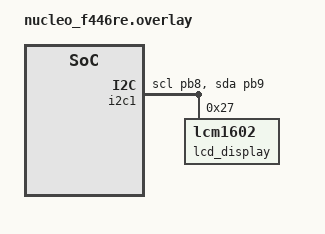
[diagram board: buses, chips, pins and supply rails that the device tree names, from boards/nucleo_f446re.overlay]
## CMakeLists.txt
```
# SPDX-License-Identifier: Apache-2.0

cmake_minimum_required(VERSION 3.20.0)
list(APPEND ZEPHYR_EXTRA_MODULES ${CMAKE_CURRENT_SOURCE_DIR}/../modules)

find_package(Zephyr REQUIRED HINTS $ENV{ZEPHYR_BASE})
target_include_directories(app PRIVATE ${CMAKE_CURRENT_SOURCE_DIR}/include)
project(hello_world)

target_sources(app PRIVATE src/main.c)
```

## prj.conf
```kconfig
# nothing here
CONFIG_I2C=y
CONFIG_LCM1602=y
```

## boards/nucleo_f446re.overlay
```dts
/{

};
&i2c1 {
    pinctrl-0=<&i2c1_scl_pb8 &i2c1_sda_pb9>;
    pinctrl-names="default";

    status="okay";
    lm1602:lm1602@27
    {
        compatible="lcm1602";
        reg=<0x27>;
        label="lcd_display";
        num_lines=<2>;
        status="okay";

    };
};
```

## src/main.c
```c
/*
 * Copyright (c) 2012-2014 Wind River Systems, Inc.
 *
 * SPDX-License-Identifier: Apache-2.0
 */

#include <stdio.h>
#include<zephyr/kernel.h>
const struct device *lcm1602=DEVICE_DT_GET(DT_NODELABEL(lm1602));
#include<lcm1602/lcm1602.h>
int main(void)
{
	if(!device_is_ready(lcm1602))
	{
		printk(" Driver failed\n");
		return -1;
	}
	
	//  }
	
	
	auxdisplay_cursor_set_enabled(lcm1602,true);
	auxdisplay_position_blinking_set_enabled(lcm1602,false);
	 char name[]="zephyr driver api ... drv";
	auxdisplay_write(lcm1602,name,strlen(name));

	uint8_t Character[8] = {
  0b01111,
  0b01001,
  0b01111,
  0b00000,
  0b00000,
  0b00000,
  0b00000,
  0b00000
};
	struct auxdisplay_character ch =
		{
			.character_code = 0,
			.data = Character,
			.index = 0,
	};
	auxdisplay_cursor_position_set(lcm1602,AUXDISPLAY_POSITION_ABSOLUTE,1,3);
	auxdisplay_custom_character_set(lcm1602,&ch);

	
	// for(int i=0;i<10;++i)
	//  {
	// 	auxdisplay_display_position_set(lcm1602,AUXDISPLAY_POSITION_RELATIVE_DIRECTION,-1,0);
	// 	k_msleep(2000);
	//  }
	
	 return 0;
}
```

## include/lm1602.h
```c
#ifndef LM1602
#define LM1602
#include<zephyr/kernel.h>
#include<zephyr/drivers/i2c.h>
#include<stdbool.h>

//connections 
/*
p0->RS
p1->RW
p2->E
p3->BT backlight 
p4->D4
p4->D5
p6->D6
p7->D7

*/

#define LCD_CLEAR_DISPLAY    0x01
#define LCD_RETURN_HOME      0x02
#define LCD_ENTRY_MODE_SET   0x04
#define LCD_DISPLAY_CONTROL  0x08
#define LCD_CURSOR_SHIFT     0x10
#define LCD_FUNCTION_SET     0x20
#define LCD_SET_CGRAM_ADDR   0x40
#define LCD_SET_DDRAM_ADDR   0x80

#define LCD_FUNCTION_8BIT     0X30
#define LCD_FUNCTION_4BIT   0X20
#define LCD_FUNCTION_2LINE  0x08
#define LCD_5X8_DOTS        
#define LCD_5X11_DOTS   0x04

/* I2C LCD Pin Mapping (PCF8574) */
#define LCD_RS_PIN           0x01  /* P0 - Register Select */
#define LCD_RW_PIN           0x02  /* P1 - Read/Write */
#define LCD_EN_PIN           0x04  /* P2 - Enable */
#define LCD_BACKLIGHT_PIN    0x08  /* P3 - Backlight */

#define LCD_ENTRYLEFT 0x02

#define LCD_DISPLAYON 0x04
#define LCD_CURSOROFF 0x00
#define LCD_BLINKOFF  0x00
#define LCD_CURSORON 0x02
#define LCD_BLINKON 0x01
#define LCD_DISPLAYCONTROL 0x08

#define LCD_SHIFT_DISPLAY_LEFT 0x18

void lcd_init();
void initialize();
void backlight_on();
void backlight_off();


void lcd_write_instruction(uint8_t inst);
void lcd_write_4bit(uint8_t nibble,bool instruction);
void cursor_on();
void lcd_print(char *character,int len);


void clear();
void home();

void pcf8574_write(uint8_t val);
void set_cursor(uint8_t row,uint8_t col);
void cursor_blinkon();
void cursor_off();
void cursor_blinkoff();
void  create_custom_char(char *rows,uint8_t addr);
void print_custom(uint8_t addr);
void shift_display_left();

#endif
```

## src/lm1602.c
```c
#include"lm1602.h"

const struct i2c_dt_spec lm1602=I2C_DT_SPEC_GET(DT_NODELABEL(lm1602));

 uint8_t lcd_backlight_state=LCD_BACKLIGHT_PIN; // backlight
/**
 * 
 * @brief turns backlight on  for the lm1602
 */
void backlight_on()
{
    lcd_write_4bit(LCD_DISPLAYCONTROL |  LCD_BLINKON , true);
}
void backlight_off()
{
    lcd_backlight_state=~(1<<3);
    i2c_write_dt(&lm1602,&lcd_backlight_state,1);
}
void lcd_init()
{
    /*
    Even with perfect timing in lcd_write_4bit, the LCD will not respond if it hasn't been put into 4-bit mode correctly first.
     When the LCD powers on, it starts in 8-bit mode.

    To get into 4-bit mode, you cannot just call lcd_write_4bit. 
    You must send the "Function Set" command (0x03) as a single nibble three times to "wake it up" before you can start sending dual-nibble commands.

pseudo-code

    Wait > 15ms after power-up.

    Send 0x30 (high nibble only) via I2C, pulse EN.

    Wait > 4.1ms.

    Send 0x30 (high nibble only), pulse EN.

    Wait > 100µs.

    Send 0x30 (high nibble only), pulse EN.

    Send 0x20 (high nibble only), pulse EN. <— This officially switches it to 4-bit mode.

    Now you can use your lcd_write_4bit function for everything else.
    */
     /* Wait for LCD power-up (>40ms) */
   k_msleep(50);

    // Initial state: RS=0, RW=0, EN=0, Backlight=On
    uint8_t startup_flags = LCD_BACKLIGHT_PIN;

    // 2. First special "Wake up" attempt (Instruction 0x30)
    // We send this as a high nibble only.
    // set lcd to 8 bit mode by sending insruction 0x30
    pcf8574_write(LCD_FUNCTION_8BIT | startup_flags);
    k_msleep(5); // Must wait > 4.1ms

    // 3. Second special "Wake up" attempt
    pcf8574_write(LCD_FUNCTION_8BIT | startup_flags);
    k_usleep(150); // Must wait > 100us

    // 4. Third special "Wake up" attempt
    pcf8574_write(LCD_FUNCTION_8BIT | startup_flags);
    k_msleep(1);

    // 5. Set to 4-bit mode (Instruction 0x20)
    // After this command, the LCD is officially in 4-bit mode
    pcf8574_write(LCD_FUNCTION_4BIT | startup_flags);
    k_msleep(1);

    
    
    // Function Set: 2 lines, 5x8 font (0x28)
    lcd_write_4bit(LCD_FUNCTION_4BIT | LCD_FUNCTION_2LINE, true); 
    
    // Display Control: Display ON, Cursor OFF, Blink OFF (0x0C)
    lcd_write_4bit(LCD_DISPLAYCONTROL | LCD_DISPLAYON | LCD_CURSOROFF | LCD_BLINKOFF , true);
    
    // Clear Display (0x01)
    lcd_write_4bit(LCD_CLEAR_DISPLAY , true);
    k_msleep(2); // Clear command needs ~1.6ms to execute

    // Entry Mode: Increment cursor, no shift (0x06)
    lcd_write_4bit(LCD_ENTRY_MODE_SET | LCD_ENTRYLEFT, true);

   
}
void initialize()
{
    if(!device_is_ready(lm1602.bus))
    {
        printk("i2c driver for lcd not ok!\n");
        return ;
    }
    return ;
}

void lcd_write_instruction(uint8_t inst)
{
    
      lcd_write_4bit(inst,true);
}
void lcd_write_data(uint8_t data)
{
    
    lcd_write_4bit(data,false);
}

// Helper to send a byte to the I2C expander and pulse EN
void pcf8574_write(uint8_t val) {
    uint8_t buf;
    // RW pin has to stay low during write operations 
    buf=val & ~LCD_EN_PIN & ~LCD_RW_PIN;
    
    i2c_write_dt(&lm1602,&buf,1);

    k_usleep(1); // tsu1 (R/W setup time) > 100ns       
    // 1. Send data with EN HIGH
    buf = val | LCD_EN_PIN;
    i2c_write_dt(&lm1602, &buf, 1);
    k_usleep(1); // Enable pulse width > 450ns
    
    // 2. Send data with EN LOW (Falling edge triggers the LCD)
    buf = val & ~LCD_EN_PIN;
    i2c_write_dt(&lm1602, &buf, 1);
    k_usleep(40); // Execution time
    
}

void lcd_write_4bit(uint8_t d, bool is_instruction) {
    uint8_t rs_mask = is_instruction ? 0 : LCD_RS_PIN;
    uint8_t backlight = lcd_backlight_state; // Usually 0x08
    
    uint8_t high_nibble = (d & 0xF0);
    uint8_t low_nibble = ((d << 4) & 0xF0);

    // Write High Nibble
    pcf8574_write(high_nibble | rs_mask | backlight);
    
    // Write Low Nibble
    pcf8574_write(low_nibble | rs_mask | backlight);
}

void cursor_on()
{
    lcd_write_4bit(LCD_DISPLAYCONTROL | LCD_DISPLAYON | LCD_CURSORON | LCD_BLINKOFF , true);
}
void cursor_off()
{
    lcd_write_4bit(LCD_DISPLAYCONTROL | LCD_DISPLAYON | LCD_CURSOROFF | LCD_BLINKOFF , true);
}
void cursor_blinkon()
{
    lcd_write_4bit(LCD_DISPLAYCONTROL | LCD_DISPLAYON | LCD_CURSORON | LCD_BLINKON, true);
}
void cursor_blinkoff()
{
    lcd_write_4bit(LCD_DISPLAYCONTROL | LCD_DISPLAYON | LCD_CURSORON | LCD_BLINKOFF, true);
}

/**
 * @brief This function sets the location of the cursor
 * 
 *   i.e  DDRAM address
 * @param row row of display either 0 or 1
 * @param col column to write character at between 0 and 39
 * 
 */
void set_cursor(uint8_t row,uint8_t col)
{
    //when in
    if(row==1)
    {
        //addr range is between 0x40 to 0x67
        col=col+0x40;
    }
    lcd_write_4bit(LCD_SET_DDRAM_ADDR|col,true);
    return ;

}
void home()
{
    lcd_write_4bit(LCD_RETURN_HOME , true);
    
}
/**
 * @brief clears entire display 
 */
void clear()
{
   // Clear Display (0x01)
    lcd_write_4bit(LCD_CLEAR_DISPLAY , true);
}

/**
 * @brief writes characters data to the DDRAM address
 *  specified by the set cursor function
 *  
 * @param *character apointer a character array to be displayed 
 * @param len length of the character array 
 */
void lcd_print(char *character,int len)
{
    for(int i=0;i<len;++i)
    {
        lcd_write_4bit(*(character+i),false);
    }
}
/**
 * @brief rows consist of  binary data of the rows 
 * 
 * @param *rows a pointer to the character row array
 * @param addr  this has to be a value between 0 and 7
 */
void  create_custom_char(char *rows,uint8_t addr)
{
    lcd_write_4bit(LCD_SET_CGRAM_ADDR| addr,true);
    // assuming address is automatically increased
    for(uint8_t i=0;i<8;++i)
    {
        lcd_write_4bit(*(rows+i),false);
    }
}
/**
 * @brief prints custom character at the specified address of the CGRAM 
 * 
 * @param addr address of CGRAM where character to be printed id located 
 * 
 *  has to be a value between 0 and 7
 */
void print_custom(uint8_t addr)
{
    lcd_write_4bit(addr,false);
}
void shift_display_left()
{
    lcd_write_4bit(LCD_SHIFT_DISPLAY_LEFT,true);
}
```
